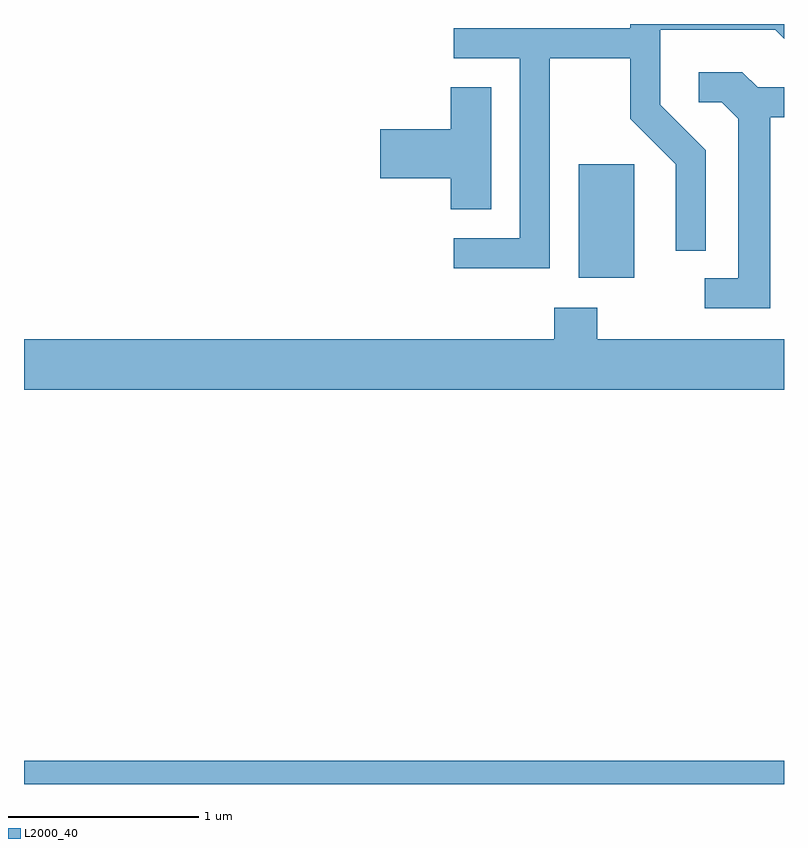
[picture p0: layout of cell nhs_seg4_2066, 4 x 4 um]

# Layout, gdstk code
import gdstk
lib = gdstk.Library(unit=1e-6, precision=1e-09)
def R(c, l, rs):  # rectangles x0, y0, x1, y1
    for r in rs: c.add(gdstk.rectangle(r[:2], r[2:], *l))
def P(c, l, *ps):  # polygons
    for p in ps: c.add(gdstk.Polygon(p, *l))
L2000_40 = (2000, 40)

nhs_seg4_2066 = lib.new_cell('nhs_seg4_2066')
R(nhs_seg4_2066, L2000_40, [(245.611,1305.982,249.611,1306.104), (248.531,1308.646,248.824,1309.244)])
P(nhs_seg4_2066, L2000_40, [(248.379,1309.801),(248.801,1309.801),(248.801,1309.484),(249.041,1309.244),(249.041,1308.788),(249.199,1308.788),(249.199,1309.317),(248.959,1309.557),(248.959,1309.951),(249.564,1309.951),(249.611,1309.904),(249.611,1309.982),(248.801,1309.982),(248.801,1309.959),(247.873,1309.959),(247.873,1309.801),(248.221,1309.801),(248.221,1308.854),(247.873,1308.854),(247.873,1308.696),(248.379,1308.696)],
  [(249.539,1309.491),(249.611,1309.491),(249.611,1309.649),(249.472,1309.649),(249.392,1309.729),(249.163,1309.729),(249.163,1309.571),(249.284,1309.571),(249.371,1309.484),(249.371,1308.644),(249.193,1308.644),(249.193,1308.486),(249.539,1308.486)],
  [(248.069,1309.649),(247.856,1309.649),(247.856,1309.429),(247.486,1309.429),(247.486,1309.171),(247.856,1309.171),(247.856,1309.006),(248.069,1309.006)],
  [(249.611,1308.324),(248.629,1308.324),(248.629,1308.489),(248.401,1308.489),(248.401,1308.324),(245.611,1308.324),(245.611,1308.056),(249.611,1308.056)])

lib.write_gds('nhs_seg4_2066.gds')
